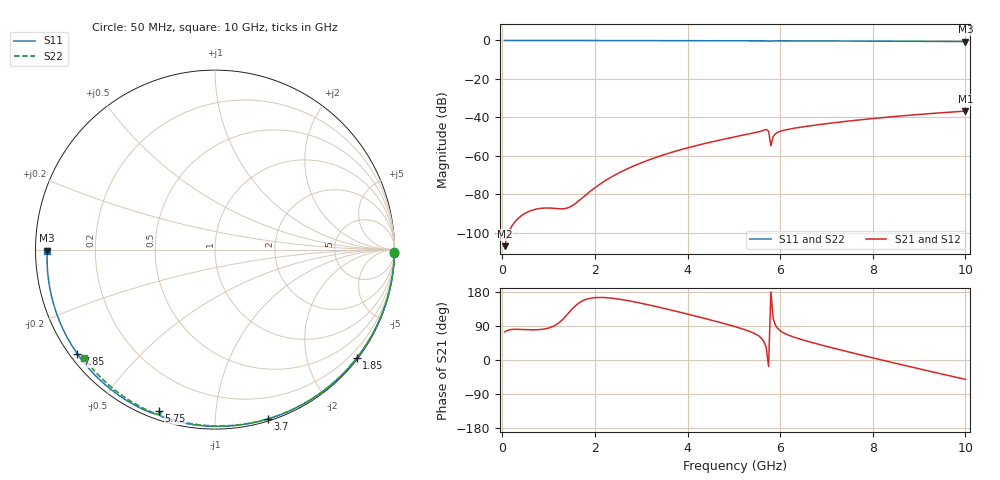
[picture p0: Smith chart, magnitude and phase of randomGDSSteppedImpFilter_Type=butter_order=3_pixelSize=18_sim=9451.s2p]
! freq	dB(S11)	phase(S11)	dB(S12)	phase(S12)
!  dB(S21)	phase(S21)	dB(S22)	phase(S22)
!S-par simulation data
#  GHz  S  DB  R 50
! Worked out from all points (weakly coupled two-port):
!   200 points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, 50 MHz to 10 GHz, reference 50 ohm
!   highest |S21| = -36.79 dB at 10 GHz (marker M1); lowest = -107.1 dB at 50 MHz (marker M2)
!   lowest |S11| = -0.6 dB at 10 GHz (marker M3), VSWR 29.67, Z = 1.69 - j0.155 ohm
!   |S11| at or under -10 dB: nowhere
!   |S22| runs from -0.5 to 0.0 dB; largest |S21 - S12| = 0
!   S11 on the Smith chart (normalised r, x): 50 MHz: open; 1.85 GHz: 0.03, -2.95; 3.7 GHz: 0.02, -1.36; 5.75 GHz: 0.04, -0.71; 7.85 GHz: 0.02, -0.34; 10 GHz: 0.03, -0.00
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0.05  -0.00 -1.0  -107.09 74.1  -107.09 74.1  -0.00 -0.8
0.85  -0.02 -17.4  -87.35 80.8  -87.35 80.8  -0.02 -13.8
1.75  -0.05 -35.5  -81.50 157.0  -81.50 157.0  -0.04 -28.1
1.85  -0.05 -37.5  -79.48 161.4  -79.48 161.4  -0.04 -29.7
2.2  -0.06 -44.3  -73.36 164.8  -73.36 164.8  -0.05 -35.1
2.55  -0.07 -51.1  -68.57 160.0  -68.57 160.0  -0.05 -40.5
2.95  -0.08 -58.7  -64.20 151.0  -64.20 151.0  -0.06 -46.6
3.4  -0.09 -67.1  -60.21 138.8  -60.21 138.8  -0.07 -53.4
3.7  -0.10 -72.6  -57.94 130.1  -57.94 130.1  -0.08 -57.8
4.35  -0.12 -84.3  -53.77 110.3  -53.77 110.3  -0.10 -67.3
5.05  -0.15 -96.5  -50.07 87.2  -50.07 87.2  -0.12 -77.1
5.7  -0.25 -108.3  -46.30 31.8  -46.30 31.8  -0.14 -86.1
5.75  -0.42 -109.2  -47.31 -16.9  -47.31 -16.9  -0.15 -86.8
5.8  -0.37 -108.3  -54.86 180.0  -54.86 180.0  -0.16 -87.4
5.85  -0.25 -109.3  -50.05 109.2  -50.05 109.2  -0.15 -88.0
5.95  -0.21 -111.3  -47.78 82.9  -47.78 82.9  -0.16 -89.4
6.2  -0.21 -115.7  -46.15 64.6  -46.15 64.6  -0.17 -92.7
6.7  -0.24 -124.0  -44.27 45.7  -44.27 45.7  -0.19 -99.3
7.85  -0.34 -142.9  -41.01 10.1  -41.01 10.1  -0.27 -113.9
8.35  -0.39 -151.2  -39.85 -4.6  -39.85 -4.6  -0.31 -120.2
9.2  -0.48 -165.5  -38.15 -28.9  -38.15 -28.9  -0.39 -130.7
10  -0.59 -179.6  -36.79 -51.1  -36.79 -51.1  -0.47 -140.5
